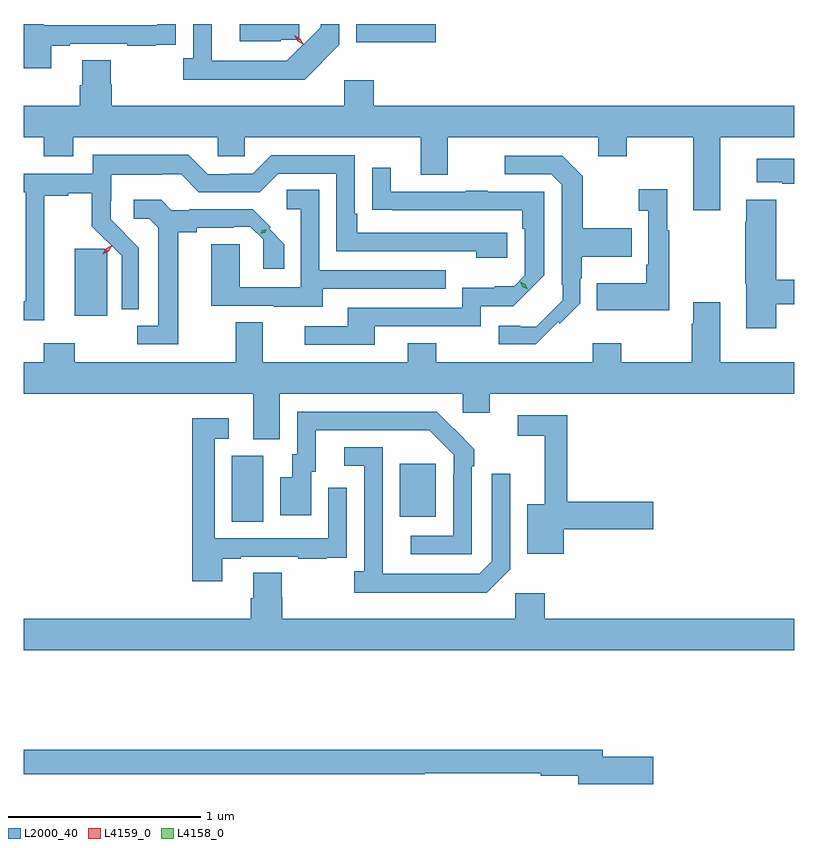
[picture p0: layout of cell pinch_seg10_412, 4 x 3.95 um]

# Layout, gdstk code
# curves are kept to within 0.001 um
import gdstk
lib = gdstk.Library(unit=1e-6, precision=1e-09)
def R(c, l, rs):  # rectangles x0, y0, x1, y1
    for r in rs: c.add(gdstk.rectangle(r[:2], r[2:], *l))
def P(c, l, *ps):  # polygons
    for p in ps: c.add(gdstk.Polygon(p, *l))
L2000_40 = (2000, 40)
L4158_0 = (4158, 0)
L4159_0 = (4159, 0)

pinch_seg10_412 = lib.new_cell('pinch_seg10_412')
R(pinch_seg10_412, L2000_40, [(364.232,1290.328,364.396,1290.672), (365.105,1290.353,365.293,1290.628), (364.88,1292.818,365.293,1292.913)])
P(pinch_seg10_412, L2000_40, [(364.487,1292.831),(364.583,1292.831),(364.583,1292.913),(364.275,1292.913),(364.275,1292.823),(364.487,1292.823)],
  [(363.295,1292.799),(363.391,1292.799),(363.391,1292.811),(363.691,1292.811),(363.691,1292.799),(363.839,1292.799),(363.839,1292.805),(363.941,1292.805),(363.941,1292.913),(363.846,1292.913),(363.846,1292.907),(363.255,1292.907),(363.255,1292.913),(363.153,1292.913),(363.153,1292.682),(363.295,1292.682)],
  [(364.791,1292.804),(364.791,1292.913),(364.695,1292.913),(364.695,1292.897),(364.519,1292.721),(364.129,1292.721),(364.129,1292.913),(364.032,1292.913),(364.032,1292.734),(363.981,1292.734),(363.981,1292.624),(364.611,1292.624)],
  [(366.769,1292.324),(367.153,1292.324),(367.153,1292.488),(364.97,1292.488),(364.97,1292.62),(364.817,1292.62),(364.817,1292.488),(363.608,1292.488),(363.608,1292.601),(363.603,1292.601),(363.603,1292.726),(363.455,1292.726),(363.455,1292.594),(363.443,1292.594),(363.443,1292.488),(363.153,1292.488),(363.153,1292.324),(363.257,1292.324),(363.257,1292.225),(363.409,1292.225),(363.409,1292.324),(364.161,1292.324),(364.161,1292.226),(364.299,1292.226),(364.299,1292.324),(365.213,1292.324),(365.213,1292.13),(365.353,1292.13),(365.353,1292.324),(366.137,1292.324),(366.137,1292.225),(366.285,1292.225),(366.285,1292.324),(366.629,1292.324),(366.629,1291.947),(366.769,1291.947)],
  [(363.259,1292.02),(363.384,1292.02),(363.384,1292.035),(363.505,1292.035),(363.505,1291.863),(363.66,1291.709),(363.66,1291.432),(363.75,1291.432),(363.75,1291.75),(363.604,1291.898),(363.604,1291.995),(363.606,1291.995),(363.606,1292.129),(363.869,1292.129),(363.869,1292.133),(363.969,1292.133),(364.062,1292.04),(364.377,1292.04),(364.473,1292.136),(364.776,1292.136),(364.776,1291.734),(365.501,1291.734),(365.501,1291.7),(365.662,1291.7),(365.662,1291.83),(364.885,1291.83),(364.885,1291.927),(364.872,1291.927),(364.872,1292.232),(364.437,1292.232),(364.341,1292.136),(364.223,1292.136),(364.223,1292.133),(364.107,1292.133),(364.007,1292.233),(363.51,1292.233),(363.51,1292.136),(363.153,1292.136),(363.153,1292.04),(363.162,1292.04),(363.162,1291.473),(363.153,1291.473),(363.153,1291.375),(363.259,1291.375)],
  [(365.927,1291.366),(365.937,1291.357),(366.042,1291.462),(366.042,1291.593),(366.05,1291.593),(366.05,1291.703),(366.311,1291.703),(366.311,1291.851),(366.055,1291.851),(366.055,1292.123),(365.949,1292.229),(365.649,1292.229),(365.649,1292.133),(365.892,1292.133),(365.946,1292.079),(365.946,1291.56),(365.952,1291.56),(365.952,1291.479),(365.814,1291.341),(365.732,1291.341),(365.732,1291.347),(365.619,1291.347),(365.619,1291.251),(365.812,1291.251)],
  [(367.153,1292.212),(366.96,1292.212),(366.96,1292.09),(367.091,1292.09),(367.091,1292.083),(367.153,1292.083)],
  [(364.975,1291.344),(365.526,1291.344),(365.526,1291.446),(365.695,1291.446),(365.856,1291.607),(365.856,1292.043),(365.561,1292.043),(365.561,1292.048),(365.449,1292.048),(365.449,1292.043),(365.059,1292.043),(365.059,1292.167),(364.963,1292.167),(364.963,1291.948),(365.74,1291.947),(365.74,1291.85),(365.754,1291.85),(365.754,1291.607),(365.699,1291.552),(365.598,1291.552),(365.598,1291.543),(365.43,1291.543),(365.43,1291.44),(364.835,1291.44),(364.835,1291.344),(364.611,1291.344),(364.611,1291.248),(364.975,1291.248)],
  [(366.505,1291.843),(366.493,1291.843),(366.493,1292.056),(366.345,1292.056),(366.345,1291.943),(366.396,1291.943),(366.396,1291.663),(366.384,1291.663),(366.384,1291.566),(366.127,1291.566),(366.127,1291.427),(366.505,1291.427)],
  [(364.705,1291.539),(365.345,1291.539),(365.345,1291.635),(364.686,1291.635),(364.686,1292.051),(364.518,1292.051),(364.518,1291.95),(364.59,1291.95),(364.59,1291.545),(364.273,1291.545),(364.273,1291.769),(364.127,1291.769),(364.127,1291.449),(364.451,1291.449),(364.451,1291.445),(364.705,1291.445)],
  [(363.955,1291.832),(364.051,1291.832),(364.051,1291.854),(364.244,1291.854),(364.244,1291.86),(364.329,1291.86),(364.395,1291.794),(364.395,1291.641),(364.505,1291.641),(364.505,1291.77),(364.426,1291.849),(364.435,1291.858),(364.342,1291.95),(364.012,1291.95),(364.012,1291.947),(363.918,1291.947),(363.866,1291.999),(363.723,1291.999),(363.723,1291.902),(363.804,1291.902),(363.851,1291.855),(363.851,1291.347),(363.741,1291.347),(363.741,1291.251),(363.955,1291.251)],
  [(367.06,1291.458),(367.153,1291.458),(367.153,1291.586),(367.06,1291.586),(367.06,1291.999),(366.905,1291.999),(366.905,1291.886),(366.898,1291.886),(366.898,1291.563),(366.905,1291.563),(366.905,1291.332),(367.06,1291.332)],
  [(363.586,1291.738),(363.573,1291.738),(363.573,1291.746),(363.416,1291.746),(363.416,1291.398),(363.586,1291.398)],
  [(364.483,1290.992),(365.433,1290.992),(365.433,1290.894),(365.572,1290.894),(365.572,1290.992),(367.153,1290.992),(367.153,1291.156),(366.769,1291.156),(366.769,1291.468),(366.629,1291.468),(366.629,1291.355),(366.622,1291.355),(366.622,1291.156),(366.255,1291.156),(366.255,1291.255),(366.107,1291.255),(366.107,1291.156),(365.295,1291.156),(365.295,1291.255),(365.147,1291.255),(365.147,1291.156),(364.393,1291.156),(364.393,1291.364),(364.253,1291.364),(364.253,1291.156),(363.417,1291.156),(363.417,1291.255),(363.257,1291.255),(363.257,1291.156),(363.153,1291.156),(363.153,1290.992),(364.343,1290.992),(364.343,1290.757),(364.483,1290.757)],
  [(365.478,1290.617),(365.493,1290.617),(365.493,1290.705),(365.296,1290.9),(364.572,1290.9),(364.572,1290.678),(364.547,1290.678),(364.547,1290.559),(364.484,1290.559),(364.484,1290.363),(364.645,1290.363),(364.645,1290.588),(364.669,1290.588),(364.669,1290.804),(365.257,1290.804),(365.385,1290.675),(365.385,1290.575),(365.382,1290.575),(365.382,1290.255),(365.163,1290.255),(365.163,1290.159),(365.478,1290.159)],
  [(365.956,1290.289),(366.421,1290.289),(366.421,1290.431),(365.975,1290.431),(365.975,1290.882),(365.718,1290.882),(365.718,1290.774),(365.858,1290.774),(365.858,1290.418),(365.768,1290.418),(365.768,1290.161),(365.956,1290.161)],
  [(364.183,1290.135),(364.279,1290.135),(364.279,1290.147),(364.579,1290.147),(364.579,1290.135),(364.727,1290.135),(364.727,1290.141),(364.829,1290.141),(364.829,1290.25),(364.83,1290.25),(364.83,1290.505),(364.734,1290.505),(364.734,1290.243),(364.143,1290.243),(364.143,1290.759),(364.216,1290.759),(364.216,1290.865),(364.027,1290.865),(364.027,1290.018),(364.183,1290.018)],
  [(365.679,1290.081),(365.679,1290.577),(365.583,1290.577),(365.583,1290.123),(365.517,1290.057),(365.017,1290.057),(365.016,1290.714),(364.818,1290.714),(364.818,1290.618),(364.92,1290.618),(364.92,1290.07),(364.869,1290.07),(364.869,1289.96),(365.558,1289.96)],
  [(367.153,1289.824),(365.858,1289.824),(365.858,1289.956),(365.706,1289.956),(365.706,1289.824),(364.496,1289.824),(364.496,1289.937),(364.491,1289.937),(364.491,1290.062),(364.343,1290.062),(364.343,1289.93),(364.331,1289.93),(364.331,1289.824),(363.153,1289.824),(363.153,1289.66),(367.153,1289.66)],
  [(366.421,1289.108),(366.16,1289.108),(366.16,1289.144),(363.153,1289.144),(363.153,1289.016),(365.236,1289.016),(365.236,1289.023),(365.836,1289.023),(365.836,1289.008),(366.032,1289.008),(366.032,1288.966),(366.421,1288.966)])
P(pinch_seg10_412, L4158_0, [(365.769,1291.535),(365.742,1291.548),(365.73,1291.574),(365.73,1291.575),(365.73,1291.575),(365.756,1291.562),(365.769,1291.535),(365.769,1291.535)],
  [(364.383,1291.823),(364.383,1291.823),(364.392,1291.843),(364.414,1291.848),(364.415,1291.848),(364.415,1291.848),(364.405,1291.828),(364.383,1291.823)])
P(pinch_seg10_412, L4159_0, [(364.606,1292.805),(364.574,1292.823),(364.557,1292.855),(364.557,1292.855),(364.557,1292.855),(364.589,1292.837),(364.607,1292.805),(364.607,1292.805)],
  [(363.563,1291.718),(363.563,1291.719),(363.581,1291.749),(363.612,1291.765),(363.612,1291.765),(363.612,1291.765),(363.594,1291.734),(363.563,1291.718)])

lib.write_gds('pinch_seg10_412.gds')
